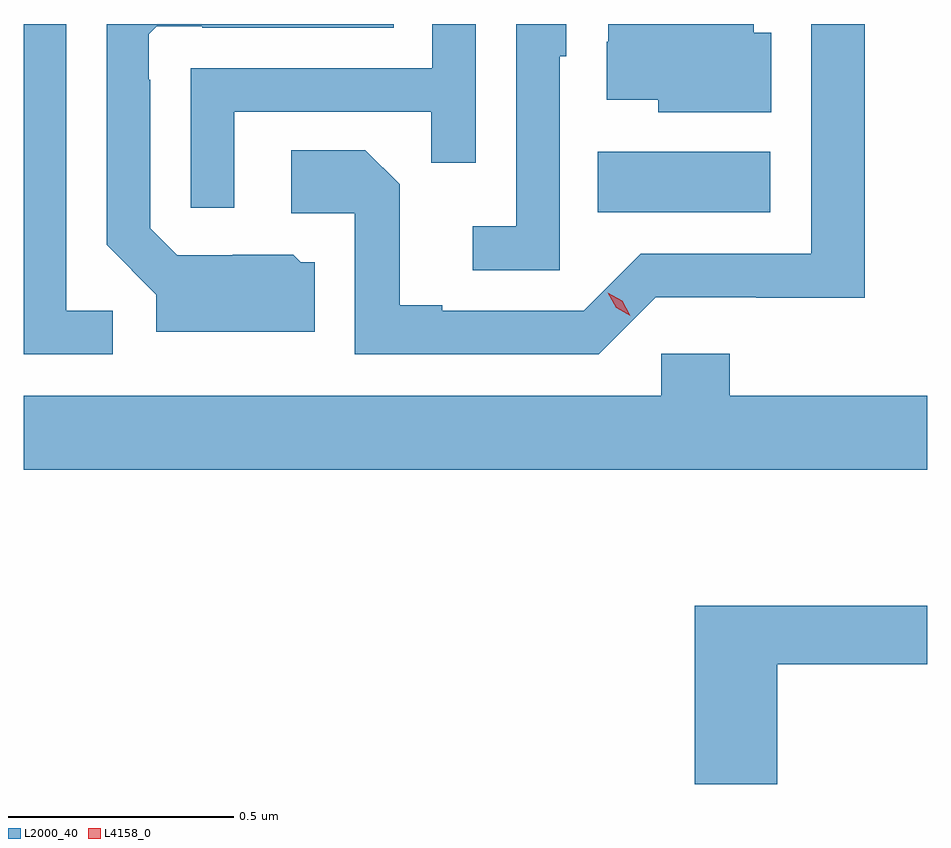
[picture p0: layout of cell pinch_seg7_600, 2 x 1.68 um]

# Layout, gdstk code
import gdstk
lib = gdstk.Library(unit=1e-6, precision=1e-09)
def R(c, l, rs):  # rectangles x0, y0, x1, y1
    for r in rs: c.add(gdstk.rectangle(r[:2], r[2:], *l))
def P(c, l, *ps):  # polygons
    for p in ps: c.add(gdstk.Polygon(p, *l))
L2000_40 = (2000, 40)
L4158_0 = (4158, 0)

pinch_seg7_600 = lib.new_cell('pinch_seg7_600')
R(pinch_seg7_600, L2000_40, [(138.256,1049.138,138.637,1049.272)])
P(pinch_seg7_600, L2000_40, [(138.171,1049.484),(138.186,1049.484),(138.186,1049.555),(138.075,1049.555),(138.075,1049.107),(137.979,1049.107),(137.979,1049.01),(138.171,1049.01)],
  [(137.629,1049.028),(137.598,1049.028),(137.582,1049.044),(137.448,1049.044),(137.448,1049.043),(137.325,1049.043),(137.265,1049.103),(137.265,1049.432),(137.262,1049.432),(137.262,1049.532),(137.28,1049.55),(137.38,1049.55),(137.38,1049.547),(137.804,1049.547),(137.804,1049.555),(137.169,1049.555),(137.169,1049.066),(137.279,1048.956),(137.279,1048.874),(137.629,1048.874)],
  [(138.384,1048.95),(138.606,1048.95),(138.606,1048.949),(138.847,1048.949),(138.847,1049.555),(138.728,1049.555),(138.728,1049.046),(138.351,1049.046),(138.225,1048.92),(137.911,1048.92),(137.911,1048.933),(137.817,1048.933),(137.817,1049.2),(137.741,1049.276),(137.577,1049.276),(137.577,1049.136),(137.718,1049.136),(137.718,1048.824),(138.258,1048.824)],
  [(137.451,1049.361),(137.887,1049.361),(137.887,1049.248),(137.985,1049.248),(137.985,1049.555),(137.889,1049.555),(137.889,1049.457),(137.355,1049.457),(137.355,1049.148),(137.451,1049.148)],
  [(138.64,1049.536),(138.601,1049.536),(138.601,1049.555),(138.279,1049.555),(138.279,1049.516),(138.275,1049.516),(138.275,1049.387),(138.39,1049.387),(138.39,1049.36),(138.64,1049.36)],
  [(137.182,1048.92),(137.079,1048.92),(137.079,1049.555),(136.985,1049.555),(136.985,1048.824),(137.182,1048.824)],
  [(138.985,1048.732),(138.548,1048.732),(138.548,1048.825),(138.396,1048.825),(138.396,1048.732),(136.985,1048.732),(136.985,1048.568),(138.985,1048.568)],
  [(138.653,1048.138),(138.985,1048.138),(138.985,1048.267),(138.47,1048.267),(138.47,1047.873),(138.653,1047.873)])
P(pinch_seg7_600, L4158_0, [(138.328,1048.909),(138.296,1048.927),(138.278,1048.96),(138.278,1048.96),(138.278,1048.96),(138.31,1048.942),(138.328,1048.909),(138.328,1048.909)])

lib.write_gds('pinch_seg7_600.gds')
